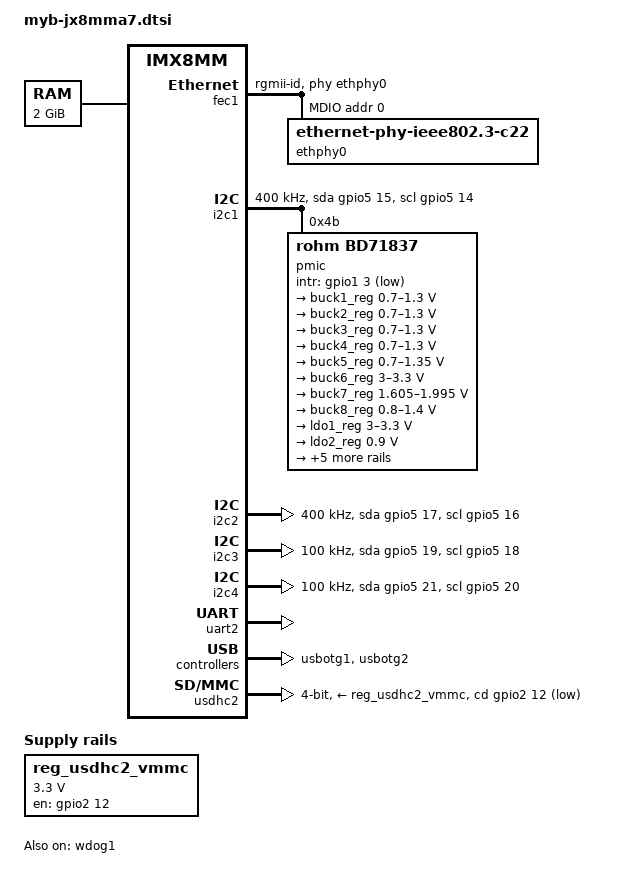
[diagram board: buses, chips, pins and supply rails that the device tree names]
// SPDX-License-Identifier: (GPL-2.0+ OR MIT)
/*
 * Copyright 2020 NXP
 */

/dts-v1/;

#include <dt-bindings/usb/pd.h>
#include "imx8mm.dtsi"

/ {
	chosen {
		stdout-path = &uart2;
	};

	memory@40000000 {
		device_type = "memory";
		reg = <0x0 0x40000000 0 0x80000000>;
	};

	reg_usdhc2_vmmc: regulator-usdhc2 {
		compatible = "regulator-fixed";
		pinctrl-names = "default";
		pinctrl-0 = <&pinctrl_reg_usdhc2_vmmc>;
		regulator-name = "VSD_3V3";
		regulator-min-microvolt = <3300000>;
		regulator-max-microvolt = <3300000>;
		gpio = <&gpio2 12 GPIO_ACTIVE_LOW>;
		//gpio = <&gpio2 12 GPIO_ACTIVE_HIGH>;
		enable-active-high;
	};

};

&A53_0 {
	cpu-supply = <&buck2_reg>;
};

&A53_1 {
	cpu-supply = <&buck2_reg>;
};

&A53_2 {
	cpu-supply = <&buck2_reg>;
};

&A53_3 {
	cpu-supply = <&buck2_reg>;
};


&fec1 {
	pinctrl-names = "default";
	pinctrl-0 = <&pinctrl_fec1>;
	phy-mode = "rgmii-id";
	phy-handle = <&ethphy0>;
	fsl,magic-packet;
	//phy-reset-gpios = <&gpio1 5 GPIO_ACTIVE_LOW>;
	status = "okay";
	
	mdio {
		#address-cells = <1>;
		#size-cells = <0>;

		ethphy0: ethernet-phy@0 {
			compatible = "ethernet-phy-ieee802.3-c22";
			reg = <0>;
		};
	};
};


&i2c1 {
	clock-frequency = <400000>;
	pinctrl-names = "default", "gpio";
	pinctrl-0 = <&pinctrl_i2c1>;
	pinctrl-1 = <&pinctrl_i2c1_gpio>;
	scl-gpios = <&gpio5 14 GPIO_ACTIVE_HIGH>;
	sda-gpios = <&gpio5 15 GPIO_ACTIVE_HIGH>;
	status = "okay";

	pmic: bd71837@4b {
		reg = <0x4b>;
		compatible = "rohm,bd71837";
		/* PMIC BD71837 PMIC_nINT GPIO1_IO3 */
		pinctrl-0 = <&pinctrl_pmic>;
		gpio_intr = <&gpio1 3 GPIO_ACTIVE_LOW>;

		gpo {
			rohm,drv = <0x0C>;	/* 0b0000_1100 all gpos with cmos output mode */
		};

		regulators {
			#address-cells = <1>;
			#size-cells = <0>;

			bd71837,pmic-buck2-uses-i2c-dvs;
			bd71837,pmic-buck2-dvs-voltage = <1000000>, <900000>, <0>; /* VDD_ARM: Run-Idle */

			buck1_reg: regulator@0 {
				reg = <0>;
				regulator-compatible = "buck1";
				regulator-min-microvolt = <700000>;
				regulator-max-microvolt = <1300000>;
				regulator-boot-on;
				regulator-always-on;
				regulator-ramp-delay = <1250>;
			};

			buck2_reg: regulator@1 {
				reg = <1>;
				regulator-compatible = "buck2";
				regulator-min-microvolt = <700000>;
				regulator-max-microvolt = <1300000>;
				regulator-boot-on;
				regulator-always-on;
				regulator-ramp-delay = <1250>;
			};

			buck3_reg: regulator@2 {
				reg = <2>;
				regulator-compatible = "buck3";
				regulator-min-microvolt = <700000>;
				regulator-max-microvolt = <1300000>;
			};

			buck4_reg: regulator@3 {
				reg = <3>;
				regulator-compatible = "buck4";
				regulator-min-microvolt = <700000>;
				regulator-max-microvolt = <1300000>;
			};

			buck5_reg: regulator@4 {
				reg = <4>;
				regulator-compatible = "buck5";
				regulator-min-microvolt = <700000>;
				regulator-max-microvolt = <1350000>;
				regulator-boot-on;
				regulator-always-on;
			};

			buck6_reg: regulator@5 {
				reg = <5>;
				regulator-compatible = "buck6";
				regulator-min-microvolt = <3000000>;
				regulator-max-microvolt = <3300000>;
				regulator-boot-on;
				regulator-always-on;
			};

			buck7_reg: regulator@6 {
				reg = <6>;
				regulator-compatible = "buck7";
				regulator-min-microvolt = <1605000>;
				regulator-max-microvolt = <1995000>;
				regulator-boot-on;
				regulator-always-on;
			};

			buck8_reg: regulator@7 {
				reg = <7>;
				regulator-compatible = "buck8";
				regulator-min-microvolt = <800000>;
				regulator-max-microvolt = <1400000>;
				regulator-boot-on;
				regulator-always-on;
			};

			ldo1_reg: regulator@8 {
				reg = <8>;
				regulator-compatible = "ldo1";
				regulator-min-microvolt = <3000000>;
				regulator-max-microvolt = <3300000>;
				regulator-boot-on;
				regulator-always-on;
			};

			ldo2_reg: regulator@9 {
				reg = <9>;
				regulator-compatible = "ldo2";
				regulator-min-microvolt = <900000>;
				regulator-max-microvolt = <900000>;
				regulator-boot-on;
				regulator-always-on;
			};

			ldo3_reg: regulator@10 {
				reg = <10>;
				regulator-compatible = "ldo3";
				regulator-min-microvolt = <1800000>;
				regulator-max-microvolt = <3300000>;
				regulator-boot-on;
				regulator-always-on;
			};

			ldo4_reg: regulator@11 {
				reg = <11>;
				regulator-compatible = "ldo4";
				regulator-min-microvolt = <900000>;
				regulator-max-microvolt = <1800000>;
				regulator-boot-on;
				regulator-always-on;
			};

			ldo5_reg: regulator@12 {
				reg = <12>;
				regulator-compatible = "ldo5";
				regulator-min-microvolt = <1800000>;
				regulator-max-microvolt = <3300000>;
			};

			ldo6_reg: regulator@13 {
				reg = <13>;
				regulator-compatible = "ldo6";
				regulator-min-microvolt = <900000>;
				regulator-max-microvolt = <1800000>;
				regulator-boot-on;
				regulator-always-on;
			};

			ldo7_reg: regulator@14 {
				reg = <14>;
				regulator-compatible = "ldo7";
				regulator-min-microvolt = <1800000>;
				regulator-max-microvolt = <3300000>;
			};

		};
	};
};

&i2c2 {
	clock-frequency = <400000>;
	pinctrl-names = "default", "gpio";
	pinctrl-0 = <&pinctrl_i2c2>;
	pinctrl-1 = <&pinctrl_i2c2_gpio>;
	scl-gpios = <&gpio5 16 GPIO_ACTIVE_HIGH>;
	sda-gpios = <&gpio5 17 GPIO_ACTIVE_HIGH>;
	status = "okay";

};

&i2c3 {
	clock-frequency = <100000>;
	pinctrl-names = "default", "gpio";
	pinctrl-0 = <&pinctrl_i2c3>;
	pinctrl-1 = <&pinctrl_i2c3_gpio>;
	scl-gpios = <&gpio5 18 GPIO_ACTIVE_HIGH>;
	sda-gpios = <&gpio5 19 GPIO_ACTIVE_HIGH>;
	status = "okay";
};

&i2c4 {
        clock-frequency = <100000>;
        pinctrl-names = "default", "gpio";
        pinctrl-0 = <&pinctrl_i2c4>;
        pinctrl-1 = <&pinctrl_i2c4_gpio>;
        scl-gpios = <&gpio5 20 GPIO_ACTIVE_HIGH>;
        sda-gpios = <&gpio5 21 GPIO_ACTIVE_HIGH>;
        status = "okay";
};

&uart2 { /* console */
	pinctrl-names = "default";
	pinctrl-0 = <&pinctrl_uart2>;
	status = "okay";
};

&wdog1 {
	pinctrl-names = "default";
	pinctrl-0 = <&pinctrl_wdog>;
	fsl,ext-reset-output;
	status = "okay";
};

&usbotg1 {
	status = "okay";

};

&usbotg2 {
	status = "okay";

};

&wdog1 {
	pinctrl-names = "default";
	pinctrl-0 = <&pinctrl_wdog>;
	fsl,ext-reset-output;
	status = "okay";
};

/* SD */
 &usdhc2 {
        pinctrl-names = "default", "state_100mhz", "state_200mhz";
        pinctrl-0 = <&pinctrl_usdhc2>, <&pinctrl_usdhc2_gpio>;
        pinctrl-1 = <&pinctrl_usdhc2_100mhz>, <&pinctrl_usdhc2_gpio>;
        pinctrl-2 = <&pinctrl_usdhc2_200mhz>, <&pinctrl_usdhc2_gpio>;
        cd-gpios = <&gpio2 12 GPIO_ACTIVE_LOW>;
        bus-width = <4>;
		no-1-8-v;
        vmmc-supply = <&reg_usdhc2_vmmc>;
        status = "okay";
 };

&iomuxc {

	pinctrl_fec1: fec1grp {
		fsl,pins = <
			MX8MM_IOMUXC_ENET_MDC_ENET1_MDC			0x3
			MX8MM_IOMUXC_ENET_MDIO_ENET1_MDIO		0x3
			MX8MM_IOMUXC_ENET_TD3_ENET1_RGMII_TD3		0x1f
			MX8MM_IOMUXC_ENET_TD2_ENET1_RGMII_TD2		0x1f
			MX8MM_IOMUXC_ENET_TD1_ENET1_RGMII_TD1		0x1f
			MX8MM_IOMUXC_ENET_TD0_ENET1_RGMII_TD0		0x1f
			MX8MM_IOMUXC_ENET_RD3_ENET1_RGMII_RD3		0x91
			MX8MM_IOMUXC_ENET_RD2_ENET1_RGMII_RD2		0x91
			MX8MM_IOMUXC_ENET_RD1_ENET1_RGMII_RD1		0x91
			MX8MM_IOMUXC_ENET_RD0_ENET1_RGMII_RD0		0x91
			MX8MM_IOMUXC_ENET_TXC_ENET1_RGMII_TXC		0x1f
			MX8MM_IOMUXC_ENET_RXC_ENET1_RGMII_RXC		0x91
			MX8MM_IOMUXC_ENET_RX_CTL_ENET1_RGMII_RX_CTL	0x91
			MX8MM_IOMUXC_ENET_TX_CTL_ENET1_RGMII_TX_CTL	0x1f
			MX8MM_IOMUXC_SAI2_RXC_GPIO4_IO22		0x19
		>;
	};

	pinctrl_i2c1: i2c1grp {
		fsl,pins = <
			MX8MM_IOMUXC_I2C1_SCL_I2C1_SCL			0x400001c3
			MX8MM_IOMUXC_I2C1_SDA_I2C1_SDA			0x400001c3
		>;
	};

	pinctrl_i2c2: i2c2grp {
		fsl,pins = <
			MX8MM_IOMUXC_I2C2_SCL_I2C2_SCL			0x400001c3
			MX8MM_IOMUXC_I2C2_SDA_I2C2_SDA			0x400001c3
		>;
	};

	pinctrl_i2c3: i2c3grp {
		fsl,pins = <
			MX8MM_IOMUXC_I2C3_SCL_I2C3_SCL			0x400001c3
			MX8MM_IOMUXC_I2C3_SDA_I2C3_SDA			0x400001c3
		>;
	};
	
	pinctrl_i2c4: i2c4grp {
        fsl,pins = <
            MX8MM_IOMUXC_I2C4_SCL_I2C4_SCL         0x400001c3
            MX8MM_IOMUXC_I2C4_SDA_I2C4_SDA         0x400001c3
        >;
    };

	pinctrl_i2c1_gpio: i2c1grp-gpio {
		fsl,pins = <
			MX8MM_IOMUXC_I2C1_SCL_GPIO5_IO14        		0x1c3
			MX8MM_IOMUXC_I2C1_SDA_GPIO5_IO15        	0x1c3
		>;
	};

	pinctrl_i2c2_gpio: i2c2grp-gpio {
		fsl,pins = <
			MX8MM_IOMUXC_I2C2_SCL_GPIO5_IO16        		0x1c3
			MX8MM_IOMUXC_I2C2_SDA_GPIO5_IO17        	0x1c3
		>;
	};

	pinctrl_i2c3_gpio: i2c3grp-gpio {
		fsl,pins = <
			MX8MM_IOMUXC_I2C3_SCL_GPIO5_IO18        		0x1c3
			MX8MM_IOMUXC_I2C3_SDA_GPIO5_IO19        	0x1c3
		>;
	};
	
	pinctrl_i2c4_gpio: i2c4grp-gpio {
        fsl,pins = <
            MX8MM_IOMUXC_I2C4_SCL_GPIO5_IO20                        0x1c3
            MX8MM_IOMUXC_I2C4_SDA_GPIO5_IO21                0x1c3
        >;
    };

	pinctrl_pmic: pmicirqgrp {
		fsl,pins = <
			MX8MM_IOMUXC_GPIO1_IO03_GPIO1_IO3		0x141
		>;
	};

	pinctrl_uart2: uart2grp {
		fsl,pins = <
			MX8MM_IOMUXC_UART2_RXD_UART2_DCE_RX	0x140
			MX8MM_IOMUXC_UART2_TXD_UART2_DCE_TX	0x140
		>;
	};

	
	pinctrl_usdhc2_gpio: usdhc2grpgpio {
		fsl,pins = <
			MX8MM_IOMUXC_SD2_CD_B_GPIO2_IO12           0x00000116
		>;
	};
	
	pinctrl_reg_usdhc2_vmmc: regusdhc2vmmcgrp {
        fsl,pins = <
            MX8MM_IOMUXC_SD2_RESET_B_GPIO2_IO19     0x41
        >;
    };
	
	pinctrl_usdhc2: usdhc2grp {
		fsl,pins = <
			MX8MM_IOMUXC_SD2_CLK_USDHC2_CLK		0x190
			MX8MM_IOMUXC_SD2_CMD_USDHC2_CMD		0x1d0
			MX8MM_IOMUXC_SD2_DATA0_USDHC2_DATA0	0x1d0
			MX8MM_IOMUXC_SD2_DATA1_USDHC2_DATA1	0x1d0
			MX8MM_IOMUXC_SD2_DATA2_USDHC2_DATA2	0x1d0
			MX8MM_IOMUXC_SD2_DATA3_USDHC2_DATA3	0x1d0
		>;
	};

	pinctrl_usdhc2_100mhz: usdhc2-100mhzgrp {
		fsl,pins = <
			MX8MM_IOMUXC_SD2_CLK_USDHC2_CLK		0x194
			MX8MM_IOMUXC_SD2_CMD_USDHC2_CMD		0x1d4
			MX8MM_IOMUXC_SD2_DATA0_USDHC2_DATA0	0x1d4
			MX8MM_IOMUXC_SD2_DATA1_USDHC2_DATA1	0x1d4
			MX8MM_IOMUXC_SD2_DATA2_USDHC2_DATA2	0x1d4
			MX8MM_IOMUXC_SD2_DATA3_USDHC2_DATA3	0x1d4
		>;
	};

	pinctrl_usdhc2_200mhz: usdhc2-200mhzgrp {
		fsl,pins = <
			MX8MM_IOMUXC_SD2_CLK_USDHC2_CLK		0x196
			MX8MM_IOMUXC_SD2_CMD_USDHC2_CMD		0x1d6
			MX8MM_IOMUXC_SD2_DATA0_USDHC2_DATA0	0x1d6
			MX8MM_IOMUXC_SD2_DATA1_USDHC2_DATA1	0x1d6
			MX8MM_IOMUXC_SD2_DATA2_USDHC2_DATA2	0x1d6
			MX8MM_IOMUXC_SD2_DATA3_USDHC2_DATA3	0x1d6
		>;
	};

	pinctrl_wdog: wdoggrp {
		fsl,pins = <
			MX8MM_IOMUXC_GPIO1_IO02_WDOG1_WDOG_B	0xc6
		>;
	};

};
